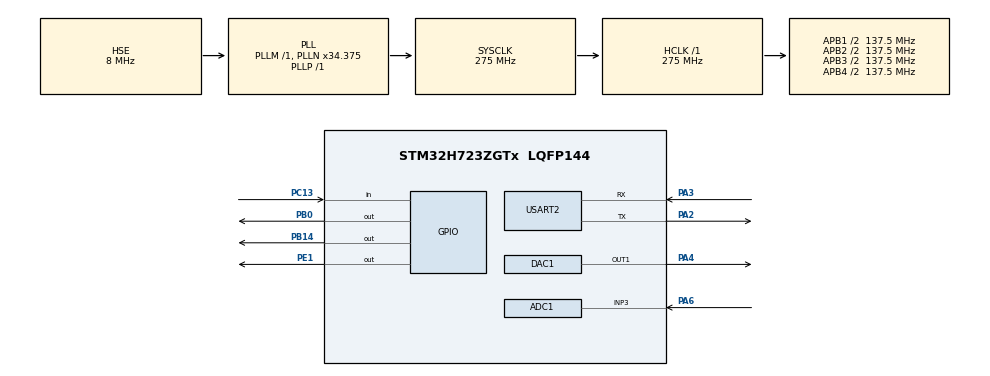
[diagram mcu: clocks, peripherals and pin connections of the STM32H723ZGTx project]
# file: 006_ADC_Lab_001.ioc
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ADC1.Channel-3\#ChannelRegularConversion=ADC_CHANNEL_3
ADC1.ClockPrescaler=ADC_CLOCK_ASYNC_DIV2
ADC1.ContinuousConvMode=ENABLE
ADC1.ConversionDataManagement=ADC_CONVERSIONDATA_DMA_CIRCULAR
ADC1.EnableInjectedConversion=DISABLE
ADC1.EnableRegularConversion=ENABLE
ADC1.ExternalTrigConv=ADC_EXTERNALTRIG_T4_TRGO
ADC1.NbrOfConversionFlag=1
ADC1.OffsetNumber-3\#ChannelRegularConversion=ADC_OFFSET_NONE
ADC1.OffsetSignedSaturation-3\#ChannelRegularConversion=DISABLE
ADC1.OversamplingMode=DISABLE
ADC1.Rank-3\#ChannelRegularConversion=1
ADC1.Ratio=1
ADC1.Resolution=ADC_RESOLUTION_12B
ADC1.SamplingTime-3\#ChannelRegularConversion=ADC_SAMPLETIME_64CYCLES_5
ADC1.master=1
CORTEX_M7.CPU_DCache=Disabled
CORTEX_M7.MPU_Control=__NULL
CORTEX_M7.default_mode_Activation=1
DAC1.DAC_Channel-DAC_OUT1=DAC_CHANNEL_1
DAC1.DAC_Trigger-DAC_OUT1=DAC_TRIGGER_T8_TRGO
DAC1.TriangleAmplitude-DAC_OUT1=DAC_TRIANGLEAMPLITUDE_1023
DAC1.WaveGeneration-DAC_OUT1=TriangleWaveGeneration
Dma.ADC1.0.Direction=DMA_PERIPH_TO_MEMORY
Dma.ADC1.0.EventEnable=DISABLE
Dma.ADC1.0.FIFOMode=DMA_FIFOMODE_DISABLE
Dma.ADC1.0.Instance=DMA1_Stream0
Dma.ADC1.0.MemDataAlignment=DMA_MDATAALIGN_HALFWORD
Dma.ADC1.0.MemInc=DMA_MINC_ENABLE
Dma.ADC1.0.Mode=DMA_CIRCULAR
Dma.ADC1.0.PeriphDataAlignment=DMA_PDATAALIGN_HALFWORD
Dma.ADC1.0.PeriphInc=DMA_PINC_DISABLE
Dma.ADC1.0.Polarity=HAL_DMAMUX_REQ_GEN_RISING
Dma.ADC1.0.Priority=DMA_PRIORITY_LOW
Dma.ADC1.0.RequestNumber=1
Dma.ADC1.0.SignalID=NONE
Dma.ADC1.0.SyncEnable=DISABLE
Dma.ADC1.0.SyncPolarity=HAL_DMAMUX_SYNC_NO_EVENT
Dma.ADC1.0.SyncRequestNumber=1
Dma.ADC1.0.SyncSignalID=NONE
Dma.DAC1_CH1.1.Direction=DMA_MEMORY_TO_PERIPH
Dma.DAC1_CH1.1.EventEnable=DISABLE
Dma.DAC1_CH1.1.FIFOMode=DMA_FIFOMODE_DISABLE
Dma.DAC1_CH1.1.Instance=DMA1_Stream1
Dma.DAC1_CH1.1.MemDataAlignment=DMA_MDATAALIGN_BYTE
Dma.DAC1_CH1.1.MemInc=DMA_MINC_ENABLE
Dma.DAC1_CH1.1.Mode=DMA_CIRCULAR
Dma.DAC1_CH1.1.PeriphDataAlignment=DMA_PDATAALIGN_BYTE
Dma.DAC1_CH1.1.PeriphInc=DMA_PINC_DISABLE
Dma.DAC1_CH1.1.Polarity=HAL_DMAMUX_REQ_GEN_RISING
Dma.DAC1_CH1.1.Priority=DMA_PRIORITY_LOW
Dma.DAC1_CH1.1.RequestNumber=1
Dma.DAC1_CH1.1.SignalID=NONE
Dma.DAC1_CH1.1.SyncEnable=DISABLE
Dma.DAC1_CH1.1.SyncPolarity=HAL_DMAMUX_SYNC_NO_EVENT
Dma.DAC1_CH1.1.SyncRequestNumber=1
Dma.DAC1_CH1.1.SyncSignalID=NONE
Dma.Request0=ADC1
Dma.Request1=DAC1_CH1
Mcu.Family=STM32H7
Mcu.Name=STM32H723ZGTx
Mcu.Package=LQFP144
NUCLEO-H723ZG.BUTTON=1
NUCLEO-H723ZG.LD1=true
NUCLEO-H723ZG.LD2=true
NUCLEO-H723ZG.LD3=true
NUCLEO-H723ZG.VCP=true
NVIC.ADC_IRQn=true\:0\:0\:false\:false\:true\:true\:true\:true
NVIC.DMA1_Stream0_IRQn=true\:0\:0\:false\:false\:true\:false\:true\:true
NVIC.DMA1_Stream1_IRQn=true\:0\:0\:false\:false\:true\:false\:true\:true
NVIC.EXTI15_10_IRQn=true\:0\:0\:false\:false\:true\:false\:true\:true
NVIC.PriorityGroup=NVIC_PRIORITYGROUP_4
NVIC.TIM6_DAC_IRQn=true\:0\:0\:false\:false\:true\:true\:true\:true
PA13(JTMS/SWDIO).GPIO_Label=SWDIO
PA13(JTMS/SWDIO).Mode=Trace_Asynchronous_SW
PA13(JTMS/SWDIO).Signal=DEBUG_JTMS-SWDIO
PA14(JTCK/SWCLK).GPIO_Label=SWCLK
PA14(JTCK/SWCLK).Mode=Trace_Asynchronous_SW
PA14(JTCK/SWCLK).Signal=DEBUG_JTCK-SWCLK
PA2.Mode=Asynchronous
PA2.Signal=USART2_TX
PA3.Mode=Asynchronous
PA3.Signal=USART2_RX
PA4.Signal=COMP_DAC11_group
PA6.Signal=ADCx_INP3
PB0.Signal=GPIO_Output
PB14.Signal=GPIO_Output
PB3(JTDO/TRACESWO).Mode=Trace_Asynchronous_SW
PB3(JTDO/TRACESWO).Signal=DEBUG_JTDO-SWO
PC13.Signal=GPIO_Input
PC14-OSC32_IN.Signal=RCC_OSC32_IN
PC15-OSC32_OUT.Signal=RCC_OSC32_OUT
PD8.Signal=USART3_TX
PD9.Signal=USART3_RX
PE1.Signal=GPIO_Output
PH0-OSC_IN.Mode=HSE-External-Oscillator
PH0-OSC_IN.Signal=RCC_OSC_IN
PH1-OSC_OUT.Mode=HSE-External-Oscillator
PH1-OSC_OUT.Signal=RCC_OSC_OUT
ProjectManager.HeapSize=0x200
ProjectManager.StackSize=0x400
ProjectManager.TargetToolchain=STM32CubeIDE
RCC.ADCFreq_Value=50000000
RCC.APB1Freq_Value=137500000
RCC.APB2Freq_Value=137500000
RCC.APB3Freq_Value=137500000
RCC.APB4Freq_Value=137500000
RCC.CortexFreq_Value=275000000
RCC.D1PPRE=RCC_APB3_DIV2
RCC.D2PPRE1=RCC_APB1_DIV2
RCC.D2PPRE2=RCC_APB2_DIV2
RCC.D3PPRE=RCC_APB4_DIV2
RCC.DIVM1=1
RCC.DIVM2=1
RCC.DIVN1=34
RCC.DIVN2=25
RCC.DIVP1=1
RCC.DIVP2=4
RCC.DIVQ1=4
RCC.HCLKFreq_Value=275000000
RCC.HSE_VALUE=8000000
RCC.PLL2FRACN=0
RCC.PLLFRACN=3072
RCC.PLLSourceVirtual=RCC_PLLSOURCE_HSE
RCC.SYSCLKFreq_VALUE=275000000
RCC.SYSCLKSource=RCC_SYSCLKSOURCE_PLLCLK
RCC.USBCLockSelection=RCC_USBCLKSOURCE_HSI48
RCC.USBFreq_Value=48000000
SH.ADCx_INP3.0=ADC1_INP3,IN3-Single-Ended
SH.COMP_DAC11_group.0=DAC1_OUT1,DAC_OUT1
TIM4.Period=2-1
TIM4.Prescaler=2750-1
TIM4.TIM_MasterOutputTrigger=TIM_TRGO_UPDATE
TIM6.Period=20-1
TIM6.Prescaler=2750-1
TIM6.TIM_MasterOutputTrigger=TIM_TRGO_RESET
TIM8.Period=100-1
TIM8.Prescaler=2750-1
TIM8.TIM_MasterOutputTrigger=TIM_TRGO_UPDATE
USART2.VirtualMode-Asynchronous=VM_ASYNC
VP_MEMORYMAP_VS_MEMORYMAP.Mode=CurAppReg
VP_NUCLEO-H723ZG_VS_BSP_COMMON.Mode=COMMON
VP_TIM4_VS_ClockSourceINT.Mode=Internal
VP_TIM6_VS_ClockSourceINT.Mode=Enable_Timer
VP_TIM8_VS_ClockSourceINT.Mode=Internal
board=NUCLEO-H723ZG

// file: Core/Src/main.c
/* USER CODE BEGIN Header */
/**
  ******************************************************************************
  * @file           : main.c
  * @brief          : Main program body
  ******************************************************************************
  * @attention
  *
  * Copyright (c) 2025 STMicroelectronics.
  * All rights reserved.
  *
  * This software is licensed under terms that can be found in the LICENSE file
  * in the root directory of this software component.
  * If no LICENSE file comes with this software, it is provided AS-IS.
  *
  ******************************************************************************
  */
/* USER CODE END Header */
#include "main.h"

/* USER CODE BEGIN Includes */
#include"stdbool.h"
#include"string.h"
/* USER CODE END Includes */

/* USER CODE BEGIN PTD */
#define DTCM 		__attribute__((section(".dtcm_vectable")))
#define ALIGN_32B	__attribute__((aligned(4)))
/* USER CODE END PTD */

COM_InitTypeDef BspCOMInit;
ADC_HandleTypeDef hadc1;
DMA_HandleTypeDef hdma_adc1;

DAC_HandleTypeDef hdac1;
DMA_HandleTypeDef hdma_dac1_ch1;

TIM_HandleTypeDef htim4;
TIM_HandleTypeDef htim6;
TIM_HandleTypeDef htim8;

UART_HandleTypeDef huart2;

void SystemClock_Config(void);
static void MX_GPIO_Init(void);
static void MX_DMA_Init(void);
static void MX_ADC1_Init(void);
static void MX_USART2_UART_Init(void);
static void MX_DAC1_Init(void);
static void MX_TIM8_Init(void);
static void MX_TIM6_Init(void);
static void MX_TIM4_Init(void);
/* USER CODE BEGIN PFP */
/*video konusu hizlama onemi
 * dtcm rame etkisi */
/* USER CODE END PFP */

/* USER CODE BEGIN 0 */

uint16_t adc_data;
volatile uint8_t dataReady_flag = 0xff;
ALIGN_32B volatile uint8_t ODR_flag =0  ;
extern uint32_t _sdtcm, _edtcm;

void DAC_Triangle_Start(void)
{
	// DAC ayarları

	HAL_DAC_Start(&hdac1, DAC_CHANNEL_1);
	HAL_DACEx_TriangleWaveGenerate(&hdac1, DAC_CHANNEL_1, DAC_TRIANGLEAMPLITUDE_1023);
	HAL_DAC_Start(&hdac1, DAC_CHANNEL_1);

	//1khz
	HAL_TIM_Base_Start(&htim8);
	__DSB();
	__DMB();
}

void ADC_Read_Start(void)
{
	HAL_ADCEx_Calibration_Start(&hadc1, ADC_CALIB_OFFSET, ADC_SINGLE_ENDED);
	HAL_ADCEx_Calibration_Start(&hadc1, ADC_CALIB_OFFSET_LINEARITY,	ADC_SINGLE_ENDED);
	HAL_Delay(1000);

	HAL_ADC_Start_DMA(&hadc1, (uint32_t*) &adc_data, sizeof(adc_data));
	__HAL_DMA_DISABLE_IT(&hdma_adc1, DMA_IT_HT);
	//50 khz Fs
	HAL_TIM_Base_Start(&htim4);
	__DSB();
	__DMB();
}

/* USER CODE END 0 */

int main(void)
{

  /* MCU Configuration--------------------------------------------------------*/

  /* Reset of all peripherals, Initializes the Flash interface and the Systick. */
  HAL_Init();

  /* Configure the system clock */
  SystemClock_Config();

  /* Initialize all configured peripherals */
  MX_GPIO_Init();
  MX_DMA_Init();
  MX_ADC1_Init();
  MX_USART2_UART_Init();
  MX_DAC1_Init();
  MX_TIM8_Init();
  MX_TIM6_Init();
  MX_TIM4_Init();
  /* USER CODE BEGIN 2 */
  size_t size = (uint8_t*)&_edtcm - (uint8_t*)&_sdtcm;
  memset((void*)&_sdtcm, 0, size);
  HAL_TIM_Base_Start_IT(&htim6);
  ADC_Read_Start();
  DAC_Triangle_Start();
  /* USER CODE END 2 */

  /* Initialize leds */
  BSP_LED_Init(LED_GREEN);
  BSP_LED_Init(LED_YELLOW);
  BSP_LED_Init(LED_RED);

  /* Initialize USER push-button, will be used to trigger an interrupt each time it's pressed.*/
  BSP_PB_Init(BUTTON_USER, BUTTON_MODE_EXTI);

  /* Initialize COM1 port (115200, 8 bits (7-bit data + 1 stop bit), no parity */
  BspCOMInit.BaudRate   = 115200;
  BspCOMInit.WordLength = COM_WORDLENGTH_8B;
  BspCOMInit.StopBits   = COM_STOPBITS_1;
  BspCOMInit.Parity     = COM_PARITY_NONE;
  BspCOMInit.HwFlowCtl  = COM_HWCONTROL_NONE;
  if (BSP_COM_Init(COM1, &BspCOMInit) != BSP_ERROR_NONE)
  {
    Error_Handler();
  }

  /* Infinite loop */
  while (1)
  {

    /* USER CODE BEGIN 3 */

		if (ODR_flag == 1) {

			ODR_flag = 0;

			  if (dataReady_flag) {

				  dataReady_flag = 0;
				  printf("%u\r\n",adc_data);

			}

		}

  }
  /* USER CODE END 3 */
}

void SystemClock_Config(void)
{
  RCC_OscInitTypeDef RCC_OscInitStruct = {0};
  RCC_ClkInitTypeDef RCC_ClkInitStruct = {0};

  /** Supply configuration update enable
  */
  HAL_PWREx_ConfigSupply(PWR_LDO_SUPPLY);

  /** Configure the main internal regulator output voltage
  */
  __HAL_PWR_VOLTAGESCALING_CONFIG(PWR_REGULATOR_VOLTAGE_SCALE0);

  while(!__HAL_PWR_GET_FLAG(PWR_FLAG_VOSRDY)) {}

  /** Initializes the RCC Oscillators according to the specified parameters
  * in the RCC_OscInitTypeDef structure.
  */
  RCC_OscInitStruct.OscillatorType = RCC_OSCILLATORTYPE_HSE;
  RCC_OscInitStruct.HSEState = RCC_HSE_ON;
  RCC_OscInitStruct.PLL.PLLState = RCC_PLL_ON;
  RCC_OscInitStruct.PLL.PLLSource = RCC_PLLSOURCE_HSE;
  RCC_OscInitStruct.PLL.PLLM = 1;
  RCC_OscInitStruct.PLL.PLLN = 34;
  RCC_OscInitStruct.PLL.PLLP = 1;
  RCC_OscInitStruct.PLL.PLLQ = 4;
  RCC_OscInitStruct.PLL.PLLR = 2;
  RCC_OscInitStruct.PLL.PLLRGE = RCC_PLL1VCIRANGE_3;
  RCC_OscInitStruct.PLL.PLLVCOSEL = RCC_PLL1VCOWIDE;
  RCC_OscInitStruct.PLL.PLLFRACN = 3072;
  if (HAL_RCC_OscConfig(&RCC_OscInitStruct) != HAL_OK)
  {
    Error_Handler();
  }

  /** Initializes the CPU, AHB and APB buses clocks
  */
  RCC_ClkInitStruct.ClockType = RCC_CLOCKTYPE_HCLK|RCC_CLOCKTYPE_SYSCLK
                              |RCC_CLOCKTYPE_PCLK1|RCC_CLOCKTYPE_PCLK2
                              |RCC_CLOCKTYPE_D3PCLK1|RCC_CLOCKTYPE_D1PCLK1;
  RCC_ClkInitStruct.SYSCLKSource = RCC_SYSCLKSOURCE_PLLCLK;
  RCC_ClkInitStruct.SYSCLKDivider = RCC_SYSCLK_DIV1;
  RCC_ClkInitStruct.AHBCLKDivider = RCC_HCLK_DIV1;
  RCC_ClkInitStruct.APB3CLKDivider = RCC_APB3_DIV2;
  RCC_ClkInitStruct.APB1CLKDivider = RCC_APB1_DIV2;
  RCC_ClkInitStruct.APB2CLKDivider = RCC_APB2_DIV2;
  RCC_ClkInitStruct.APB4CLKDivider = RCC_APB4_DIV2;

  if (HAL_RCC_ClockConfig(&RCC_ClkInitStruct, FLASH_LATENCY_3) != HAL_OK)
  {
    Error_Handler();
  }
}

static void MX_ADC1_Init(void)
{

  ADC_MultiModeTypeDef multimode = {0};
  ADC_ChannelConfTypeDef sConfig = {0};

  /** Common config
  */
  hadc1.Instance = ADC1;
  hadc1.Init.ClockPrescaler = ADC_CLOCK_ASYNC_DIV2;
  hadc1.Init.Resolution = ADC_RESOLUTION_12B;
  hadc1.Init.ScanConvMode = ADC_SCAN_DISABLE;
  hadc1.Init.EOCSelection = ADC_EOC_SINGLE_CONV;
  hadc1.Init.LowPowerAutoWait = DISABLE;
  hadc1.Init.ContinuousConvMode = ENABLE;
  hadc1.Init.NbrOfConversion = 1;
  hadc1.Init.DiscontinuousConvMode = DISABLE;
  hadc1.Init.ExternalTrigConv = ADC_EXTERNALTRIG_T4_TRGO;
  hadc1.Init.ExternalTrigConvEdge = ADC_EXTERNALTRIGCONVEDGE_RISING;
  hadc1.Init.ConversionDataManagement = ADC_CONVERSIONDATA_DMA_CIRCULAR;
  hadc1.Init.Overrun = ADC_OVR_DATA_PRESERVED;
  hadc1.Init.LeftBitShift = ADC_LEFTBITSHIFT_NONE;
  hadc1.Init.OversamplingMode = DISABLE;
  hadc1.Init.Oversampling.Ratio = 1;
  if (HAL_ADC_Init(&hadc1) != HAL_OK)
  {
    Error_Handler();
  }

  /** Configure the ADC multi-mode
  */
  multimode.Mode = ADC_MODE_INDEPENDENT;
  if (HAL_ADCEx_MultiModeConfigChannel(&hadc1, &multimode) != HAL_OK)
  {
    Error_Handler();
  }

  /** Configure Regular Channel
  */
  sConfig.Channel = ADC_CHANNEL_3;
  sConfig.Rank = ADC_REGULAR_RANK_1;
  sConfig.SamplingTime = ADC_SAMPLETIME_64CYCLES_5;
  sConfig.SingleDiff = ADC_SINGLE_ENDED;
  sConfig.OffsetNumber = ADC_OFFSET_NONE;
  sConfig.Offset = 0;
  sConfig.OffsetSignedSaturation = DISABLE;
  if (HAL_ADC_ConfigChannel(&hadc1, &sConfig) != HAL_OK)
  {
    Error_Handler();
  }

}

static void MX_DAC1_Init(void)
{

  DAC_ChannelConfTypeDef sConfig = {0};

  /** DAC Initialization
  */
  hdac1.Instance = DAC1;
  if (HAL_DAC_Init(&hdac1) != HAL_OK)
  {
    Error_Handler();
  }

  /** DAC channel OUT1 config
  */
  sConfig.DAC_SampleAndHold = DAC_SAMPLEANDHOLD_DISABLE;
  sConfig.DAC_Trigger = DAC_TRIGGER_T8_TRGO;
  sConfig.DAC_OutputBuffer = DAC_OUTPUTBUFFER_ENABLE;
  sConfig.DAC_ConnectOnChipPeripheral = DAC_CHIPCONNECT_DISABLE;
  sConfig.DAC_UserTrimming = DAC_TRIMMING_FACTORY;
  if (HAL_DAC_ConfigChannel(&hdac1, &sConfig, DAC_CHANNEL_1) != HAL_OK)
  {
    Error_Handler();
  }

  /** Configure Triangle wave generation on DAC OUT1
  */
  if (HAL_DACEx_TriangleWaveGenerate(&hdac1, DAC_CHANNEL_1, DAC_TRIANGLEAMPLITUDE_1023) != HAL_OK)
  {
    Error_Handler();
  }

}

static void MX_TIM4_Init(void)
{

  TIM_ClockConfigTypeDef sClockSourceConfig = {0};
  TIM_MasterConfigTypeDef sMasterConfig = {0};

  htim4.Instance = TIM4;
  htim4.Init.Prescaler = 2750-1;
  htim4.Init.CounterMode = TIM_COUNTERMODE_UP;
  htim4.Init.Period = 2-1;
  htim4.Init.ClockDivision = TIM_CLOCKDIVISION_DIV1;
  htim4.Init.AutoReloadPreload = TIM_AUTORELOAD_PRELOAD_DISABLE;
  if (HAL_TIM_Base_Init(&htim4) != HAL_OK)
  {
    Error_Handler();
  }
  sClockSourceConfig.ClockSource = TIM_CLOCKSOURCE_INTERNAL;
  if (HAL_TIM_ConfigClockSource(&htim4, &sClockSourceConfig) != HAL_OK)
  {
    Error_Handler();
  }
  sMasterConfig.MasterOutputTrigger = TIM_TRGO_UPDATE;
  sMasterConfig.MasterSlaveMode = TIM_MASTERSLAVEMODE_DISABLE;
  if (HAL_TIMEx_MasterConfigSynchronization(&htim4, &sMasterConfig) != HAL_OK)
  {
    Error_Handler();
  }

}

static void MX_TIM6_Init(void)
{

  TIM_MasterConfigTypeDef sMasterConfig = {0};

  htim6.Instance = TIM6;
  htim6.Init.Prescaler = 2750-1;
  htim6.Init.CounterMode = TIM_COUNTERMODE_UP;
  htim6.Init.Period = 20-1;
  htim6.Init.AutoReloadPreload = TIM_AUTORELOAD_PRELOAD_DISABLE;
  if (HAL_TIM_Base_Init(&htim6) != HAL_OK)
  {
    Error_Handler();
  }
  sMasterConfig.MasterOutputTrigger = TIM_TRGO_RESET;
  sMasterConfig.MasterSlaveMode = TIM_MASTERSLAVEMODE_DISABLE;
  if (HAL_TIMEx_MasterConfigSynchronization(&htim6, &sMasterConfig) != HAL_OK)
  {
    Error_Handler();
  }

}

static void MX_TIM8_Init(void)
{

  TIM_ClockConfigTypeDef sClockSourceConfig = {0};
  TIM_MasterConfigTypeDef sMasterConfig = {0};

  htim8.Instance = TIM8;
  htim8.Init.Prescaler = 2750-1;
  htim8.Init.CounterMode = TIM_COUNTERMODE_UP;
  htim8.Init.Period = 100-1;
  htim8.Init.ClockDivision = TIM_CLOCKDIVISION_DIV1;
  htim8.Init.RepetitionCounter = 0;
  htim8.Init.AutoReloadPreload = TIM_AUTORELOAD_PRELOAD_DISABLE;
  if (HAL_TIM_Base_Init(&htim8) != HAL_OK)
  {
    Error_Handler();
  }
  sClockSourceConfig.ClockSource = TIM_CLOCKSOURCE_INTERNAL;
  if (HAL_TIM_ConfigClockSource(&htim8, &sClockSourceConfig) != HAL_OK)
  {
    Error_Handler();
  }
  sMasterConfig.MasterOutputTrigger = TIM_TRGO_UPDATE;
  sMasterConfig.MasterOutputTrigger2 = TIM_TRGO2_RESET;
  sMasterConfig.MasterSlaveMode = TIM_MASTERSLAVEMODE_DISABLE;
  if (HAL_TIMEx_MasterConfigSynchronization(&htim8, &sMasterConfig) != HAL_OK)
  {
    Error_Handler();
  }

}

static void MX_USART2_UART_Init(void)
{

  huart2.Instance = USART2;
  huart2.Init.BaudRate = 115200;
  huart2.Init.WordLength = UART_WORDLENGTH_8B;
  huart2.Init.StopBits = UART_STOPBITS_1;
  huart2.Init.Parity = UART_PARITY_NONE;
  huart2.Init.Mode = UART_MODE_TX_RX;
  huart2.Init.HwFlowCtl = UART_HWCONTROL_NONE;
  huart2.Init.OverSampling = UART_OVERSAMPLING_16;
  huart2.Init.OneBitSampling = UART_ONE_BIT_SAMPLE_DISABLE;
  huart2.Init.ClockPrescaler = UART_PRESCALER_DIV1;
  huart2.AdvancedInit.AdvFeatureInit = UART_ADVFEATURE_NO_INIT;
  if (HAL_UART_Init(&huart2) != HAL_OK)
  {
    Error_Handler();
  }
  if (HAL_UARTEx_SetTxFifoThreshold(&huart2, UART_TXFIFO_THRESHOLD_1_8) != HAL_OK)
  {
    Error_Handler();
  }
  if (HAL_UARTEx_SetRxFifoThreshold(&huart2, UART_RXFIFO_THRESHOLD_1_8) != HAL_OK)
  {
    Error_Handler();
  }
  if (HAL_UARTEx_DisableFifoMode(&huart2) != HAL_OK)
  {
    Error_Handler();
  }

}

static void MX_DMA_Init(void)
{

  /* DMA controller clock enable */
  __HAL_RCC_DMA1_CLK_ENABLE();

  /* DMA interrupt init */
  /* DMA1_Stream0_IRQn interrupt configuration */
  HAL_NVIC_SetPriority(DMA1_Stream0_IRQn, 0, 0);
  HAL_NVIC_EnableIRQ(DMA1_Stream0_IRQn);
  /* DMA1_Stream1_IRQn interrupt configuration */
  HAL_NVIC_SetPriority(DMA1_Stream1_IRQn, 0, 0);
  HAL_NVIC_EnableIRQ(DMA1_Stream1_IRQn);

}

static void MX_GPIO_Init(void)
{

  /* GPIO Ports Clock Enable */
  __HAL_RCC_GPIOC_CLK_ENABLE();
  __HAL_RCC_GPIOH_CLK_ENABLE();
  __HAL_RCC_GPIOA_CLK_ENABLE();
  __HAL_RCC_GPIOB_CLK_ENABLE();

}

/* USER CODE BEGIN 4 */
void HAL_ADC_ConvCpltCallback(ADC_HandleTypeDef *hadc)
{

    if(hadc->Instance == ADC1)
    {

    		dataReady_flag = 1;

    }

}

//5khz
 void HAL_TIM_PeriodElapsedCallback(TIM_HandleTypeDef *htim)
{
	 if( htim->Instance == TIM6 ){

		 ODR_flag =1;

	 }

}

/* USER CODE END 4 */

void Error_Handler(void)
{
  __disable_irq();
  while (1)
  {
  }
}
